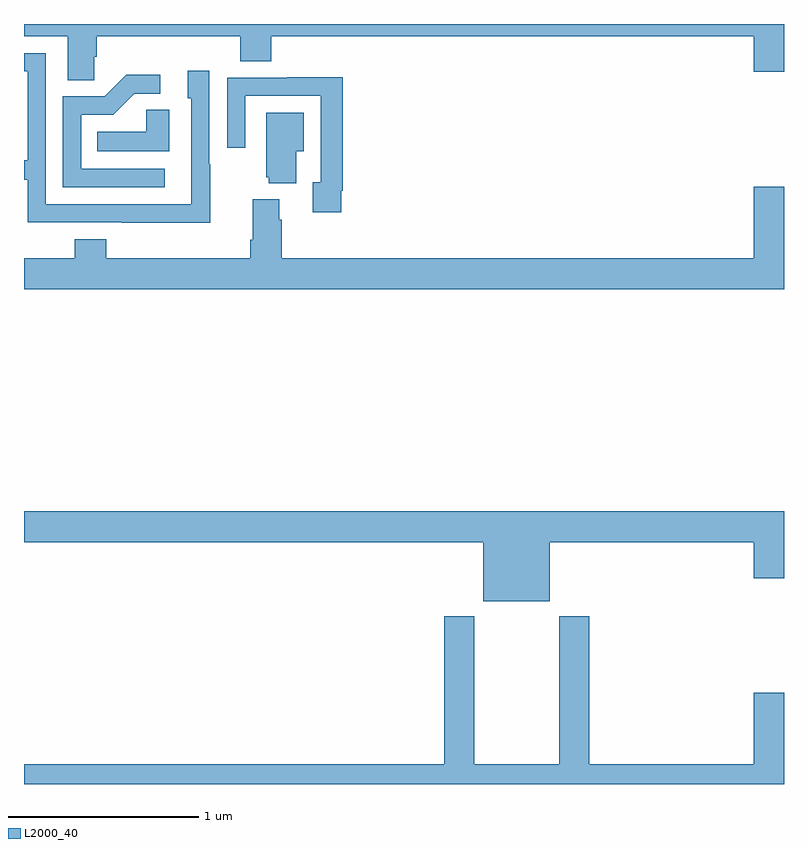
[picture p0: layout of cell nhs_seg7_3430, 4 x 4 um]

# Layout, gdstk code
import gdstk
lib = gdstk.Library(unit=1e-6, precision=1e-09)
def P(c, l, *ps):  # polygons
    for p in ps: c.add(gdstk.Polygon(p, *l))
L2000_40 = (2000, 40)

nhs_seg7_3430 = lib.new_cell('nhs_seg7_3430')
P(nhs_seg7_3430, L2000_40, [(329.37,1013.827),(329.384,1013.827),(329.384,1013.936),(330.137,1013.936),(330.137,1013.803),(330.302,1013.803),(330.302,1013.936),(332.84,1013.936),(332.84,1013.748),(333,1013.748),(333,1014),(329,1014),(329,1013.936),(329.231,1013.936),(329.231,1013.704),(329.37,1013.704)],
  [(329.979,1013.261),(329.976,1013.261),(329.976,1013.755),(329.861,1013.755),(329.861,1013.61),(329.88,1013.61),(329.88,1013.052),(329.115,1013.052),(329.115,1013.847),(329,1013.847),(329,1013.751),(329.019,1013.751),(329.019,1013.282),(329,1013.282),(329,1013.181),(329.019,1013.181),(329.019,1012.956),(329.515,1012.956),(329.515,1012.955),(329.979,1012.955)],
  [(329.74,1013.238),(329.301,1013.238),(329.301,1013.523),(329.47,1013.523),(329.581,1013.634),(329.716,1013.634),(329.716,1013.732),(329.537,1013.732),(329.424,1013.619),(329.205,1013.619),(329.205,1013.142),(329.74,1013.142)],
  [(330.67,1013.122),(330.677,1013.122),(330.677,1013.72),(330.385,1013.72),(330.385,1013.718),(330.069,1013.718),(330.069,1013.349),(330.165,1013.349),(330.165,1013.622),(330.561,1013.622),(330.561,1013.166),(330.521,1013.166),(330.521,1013.01),(330.67,1013.01)],
  [(329.764,1013.549),(329.643,1013.549),(329.643,1013.434),(329.386,1013.434),(329.386,1013.33),(329.764,1013.33)],
  [(330.433,1013.33),(330.472,1013.33),(330.472,1013.533),(330.275,1013.533),(330.275,1013.193),(330.287,1013.193),(330.287,1013.162),(330.433,1013.162)],
  [(333,1013.143),(332.84,1013.143),(332.84,1012.768),(330.356,1012.768),(330.356,1012.97),(330.343,1012.97),(330.343,1013.077),(330.203,1013.077),(330.203,1012.864),(330.191,1012.864),(330.191,1012.768),(329.432,1012.768),(329.432,1012.867),(329.267,1012.867),(329.267,1012.768),(329,1012.768),(329,1012.604),(333,1012.604)],
  [(331.768,1011.272),(332.84,1011.272),(332.84,1011.084),(333,1011.084),(333,1011.436),(329,1011.436),(329,1011.272),(331.418,1011.272),(331.418,1010.963),(331.768,1010.963)],
  [(333,1010.479),(332.84,1010.479),(332.84,1010.104),(331.976,1010.104),(331.976,1010.884),(331.816,1010.884),(331.816,1010.104),(331.371,1010.104),(331.371,1010.884),(331.211,1010.884),(331.211,1010.104),(329,1010.104),(329,1010),(333,1010)])

lib.write_gds('nhs_seg7_3430.gds')
